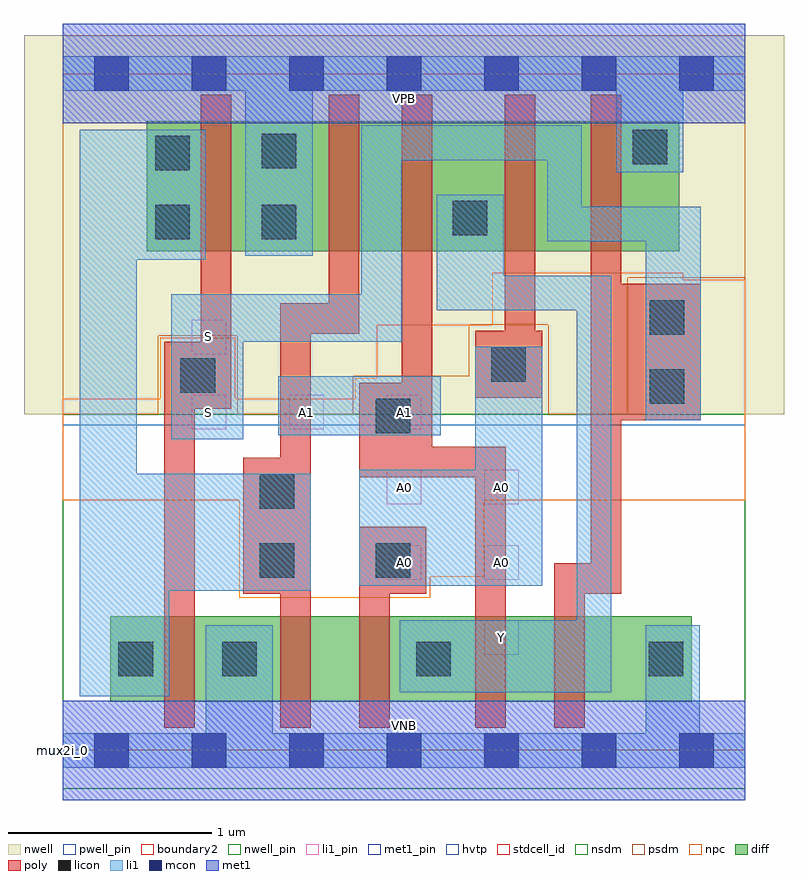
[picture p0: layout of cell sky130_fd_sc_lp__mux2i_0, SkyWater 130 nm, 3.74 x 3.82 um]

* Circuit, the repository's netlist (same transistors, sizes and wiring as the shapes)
* Copyright 2020 The SkyWater PDK Authors
*
* Licensed under the Apache License, Version 2.0 (the "License");
* you may not use this file except in compliance with the License.
* You may obtain a copy of the License at
*
*     https://www.apache.org/licenses/LICENSE-2.0
*
* Unless required by applicable law or agreed to in writing, software
* distributed under the License is distributed on an "AS IS" BASIS,
* WITHOUT WARRANTIES OR CONDITIONS OF ANY KIND, either express or implied.
* See the License for the specific language governing permissions and
* limitations under the License.
*
* SPDX-License-Identifier: Apache-2.0

.SUBCKT sky130_fd_sc_lp__mux2i_0 A0 A1 S VGND VNB VPB VPWR Y
*.PININFO A0:I A1:I S:I VGND:I VNB:I VPB:I VPWR:I Y:O
MMNA00 Y A0 smdNA0 VNB sky130_fd_pr__nfet_01v8 m=1 w=0.42U l=0.15U mult=1 sa=0.265
+ sb=0.265 sd=0.28 area=0.063 perim=1.14
MMNA01 smdNA0 Sb VGND VNB sky130_fd_pr__nfet_01v8 m=1 w=0.42U l=0.15U mult=1 sa=0.265
+ sb=0.265 sd=0.28 area=0.063 perim=1.14
MMNA10 Y A1 sndNA1 VNB sky130_fd_pr__nfet_01v8 m=1 w=0.42U l=0.15U mult=1 sa=0.265
+ sb=0.265 sd=0.28 area=0.063 perim=1.14
MMNA11 sndNA1 S VGND VNB sky130_fd_pr__nfet_01v8 m=1 w=0.42U l=0.15U mult=1 sa=0.265
+ sb=0.265 sd=0.28 area=0.063 perim=1.14
MMIN1 Sb S VGND VNB sky130_fd_pr__nfet_01v8 m=1 w=0.42U l=0.15U mult=1 sa=0.265
+ sb=0.265 sd=0.28 area=0.063 perim=1.14
MMPA00 VPWR S sndPS VPB sky130_fd_pr__pfet_01v8_hvt m=1 w=0.64U l=0.15U mult=1
+ sa=0.265 sb=0.265 sd=0.28 area=0.063 perim=1.14
MMPA01 sndPS A0 Y VPB sky130_fd_pr__pfet_01v8_hvt m=1 w=0.64U l=0.15U mult=1 sa=0.265
+ sb=0.265 sd=0.28 area=0.063 perim=1.14
MMPA10 VPWR Sb sndPSb VPB sky130_fd_pr__pfet_01v8_hvt m=1 w=0.64U l=0.15U mult=1
+ sa=0.265 sb=0.265 sd=0.28 area=0.063 perim=1.14
MMPA11 sndPSb A1 Y VPB sky130_fd_pr__pfet_01v8_hvt m=1 w=0.64U l=0.15U mult=1 sa=0.265
+ sb=0.265 sd=0.28 area=0.063 perim=1.14
MMIP1 Sb S VPWR VPB sky130_fd_pr__pfet_01v8_hvt m=1 w=0.64U l=0.15U mult=1 sa=0.265
+ sb=0.265 sd=0.28 area=0.063 perim=1.14
.ENDS sky130_fd_sc_lp__mux2i_0

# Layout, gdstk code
import gdstk
lib = gdstk.Library(unit=1e-6, precision=1e-09)
def R(c, l, rs):  # rectangles x0, y0, x1, y1
    for r in rs: c.add(gdstk.rectangle(r[:2], r[2:], *l))
def A(c, l, x, y, w, h, nx, ny, dx, dy):  # array of equal rectangles
    R(c, l, [(x+i*dx, y+j*dy, x+i*dx+w, y+j*dy+h) for i in range(nx) for j in range(ny)])
def P(c, l, *ps):  # polygons
    for p in ps: c.add(gdstk.Polygon(p, *l))
nwell_pin = (64, 16)
nwell = (64, 20)
diff = (65, 20)
poly = (66, 20)
licon = (66, 44)
li1_pin = (67, 16)
li1 = (67, 20)
mcon = (67, 44)
met1_pin = (68, 16)
met1 = (68, 20)
hvtp = (78, 44)
stdcell_id = (81, 4)
nsdm = (93, 44)
psdm = (94, 20)
npc = (95, 20)
pwell_pin = (122, 16)
boundary2 = (236, 0)

sky130_fd_sc_lp__mux2i_0 = lib.new_cell('sky130_fd_sc_lp__mux2i_0')
R(sky130_fd_sc_lp__mux2i_0, nwell_pin, [(0,3.085,3.36,3.33)])
R(sky130_fd_sc_lp__mux2i_0, nwell, [(-0.19,1.655,3.55,3.52)])
R(sky130_fd_sc_lp__mux2i_0, diff, [(0.235,0.24,3.095,0.66), (0.415,2.455,3.035,3.095)])
P(sky130_fd_sc_lp__mux2i_0, poly, [(0.83,3.225),(0.68,3.225),(0.68,2.01),(0.5,2.01),(0.5,0.11),(0.65,0.11),(0.65,1.68),(0.83,1.68)],
  [(1.46,3.225),(1.31,3.225),(1.31,2.2),(1.07,2.2),(1.07,1.44),(0.89,1.44),(0.89,0.77),(1.07,0.77),(1.07,0.11),(1.22,0.11),(1.22,2.05),(1.46,2.05)],
  [(1.79,1.1),(1.46,1.1),(1.46,0.11),(1.61,0.11),(1.61,0.77),(1.79,0.77)],
  [(2.18,1.495),(1.82,1.495),(1.82,3.225),(1.67,3.225),(1.67,1.81),(1.46,1.81),(1.46,1.345),(2.03,1.345),(2.03,0.11),(2.18,0.11)],
  [(2.36,2.065),(2.325,2.065),(2.325,3.225),(2.175,3.225),(2.175,2.065),(2.03,2.065),(2.03,1.735),(2.36,1.735)],
  [(3.14,2.295),(2.75,2.295),(2.75,3.225),(2.6,3.225),(2.6,0.92),(2.42,0.92),(2.42,0.11),(2.57,0.11),(2.57,0.77),(2.75,0.77),(2.75,1.625),(3.14,1.625)])
R(sky130_fd_sc_lp__mux2i_0, licon, [(0.275,0.365,0.445,0.535), (0.785,0.365,0.955,0.535), (1.74,0.365,1.91,0.535), (2.885,0.365,3.055,0.535), (0.97,0.85,1.14,1.02), (1.54,0.85,1.71,1.02), (0.97,1.19,1.14,1.36), (1.54,1.56,1.71,1.73), (2.89,1.705,3.06,1.875), (0.58,1.76,0.75,1.93), (2.11,1.815,2.28,1.985), (2.89,2.045,3.06,2.215), (0.455,2.515,0.625,2.685), (0.98,2.515,1.15,2.685), (1.92,2.535,2.09,2.705), (0.455,2.855,0.625,3.025), (0.98,2.865,1.15,3.035), (2.805,2.885,2.975,3.055)])
A(sky130_fd_sc_lp__mux2i_0, li1_pin, 2.075, 0.47, 0.17, 0.17, 1, 3, 0, 0.37)
A(sky130_fd_sc_lp__mux2i_0, li1_pin, 0.635, 1.58, 0.17, 0.17, 3, 1, 0.48, 0)
R(sky130_fd_sc_lp__mux2i_0, li1_pin, [(1.595,0.84,1.765,1.01), (1.595,1.21,1.765,1.38), (0.635,1.95,0.805,2.12)])
R(sky130_fd_sc_lp__mux2i_0, li1, [(1.06,1.55,1.86,1.84)])
P(sky130_fd_sc_lp__mux2i_0, li1, [(2.725,2.845),(2.725,3.245),(1.23,3.245),(1.23,2.435),(0.9,2.435),(0.9,3.245),(0,3.245),(0,3.415),(3.36,3.415),(3.36,3.245),(3.055,3.245),(3.055,2.845)],
  [(2.87,0.085),(2.87,0.615),(3.135,0.615),(3.135,0.085),(3.36,0.085),(3.36,-0.085),(0,-0.085),(0,0.085),(0.705,0.085),(0.705,0.615),(1.035,0.615),(1.035,0.085)],
  [(1.67,2.01),(0.89,2.01),(0.89,1.53),(0.535,1.53),(0.535,2.245),(1.47,2.245),(1.47,3.075),(2.555,3.075),(2.555,2.675),(3.14,2.675),(3.14,1.625),(2.87,1.625),(2.87,2.505),(2.385,2.505),(2.385,2.905),(1.67,2.905)],
  [(2.53,0.64),(2.53,2.165),(1.84,2.165),(1.84,2.735),(2.17,2.735),(2.17,2.335),(2.7,2.335),(2.7,0.285),(1.66,0.285),(1.66,0.64)],
  [(1.46,0.81),(1.46,1.38),(2.03,1.38),(2.03,1.985),(2.36,1.985),(2.36,0.81)],
  [(0.365,2.415),(0.365,1.36),(1.22,1.36),(1.22,0.785),(0.525,0.785),(0.525,0.265),(0.085,0.265),(0.085,3.055),(0.705,3.055),(0.705,2.415)])
A(sky130_fd_sc_lp__mux2i_0, mcon, 0.155, -0.085, 0.17, 0.17, 7, 2, 0.48, 3.33)
R(sky130_fd_sc_lp__mux2i_0, met1_pin, [(0,0,3.36,0.245), (0,3.085,3.36,3.33)])
R(sky130_fd_sc_lp__mux2i_0, met1, [(0,-0.245,3.36,0.245), (0,3.085,3.36,3.575)])
R(sky130_fd_sc_lp__mux2i_0, hvtp, [(0,1.6,3.36,3.33)])
R(sky130_fd_sc_lp__mux2i_0, stdcell_id, [(0,0,3.36,3.33)])
R(sky130_fd_sc_lp__mux2i_0, nsdm, [(0,-0.19,3.36,1.655)])
P(sky130_fd_sc_lp__mux2i_0, psdm, [(3.36,3.52),(0,3.52),(0,1.655),(0.47,1.655),(0.47,2.04),(0.86,2.04),(0.86,1.655),(1.43,1.655),(1.43,1.84),(2,1.84),(2,2.095),(2.39,2.095),(2.39,1.655),(2.78,1.655),(2.78,2.325),(3.36,2.325)])
P(sky130_fd_sc_lp__mux2i_0, npc, [(3.36,2.315),(3.055,2.315),(3.055,2.35),(2.115,2.35),(2.115,2.095),(1.545,2.095),(1.545,1.83),(1.44,1.83),(1.44,1.73),(0.85,1.73),(0.85,2.03),(0.48,2.03),(0.48,1.73),(0,1.73),(0,1.23),(0.87,1.23),(0.87,0.75),(1.81,0.75),(1.81,0.855),(2.075,0.855),(2.075,1.23),(3.36,1.23)])
R(sky130_fd_sc_lp__mux2i_0, pwell_pin, [(0,0,3.36,0.245)])
R(sky130_fd_sc_lp__mux2i_0, boundary2, [(0,0,3.36,3.33)])
sky130_fd_sc_lp__mux2i_0.add(gdstk.Label('VNB', (1.68,0.123), layer=64, texttype=59))
sky130_fd_sc_lp__mux2i_0.add(gdstk.Label('VPB', (1.68,3.208), layer=64, texttype=5))
sky130_fd_sc_lp__mux2i_0.add(gdstk.Label('mux2i_0', (0,0), layer=83, texttype=44))
sky130_fd_sc_lp__mux2i_0.add(gdstk.Label('VPWR', (1.68,3.208), layer=68, texttype=5))
sky130_fd_sc_lp__mux2i_0.add(gdstk.Label('VGND', (1.68,0.123), layer=68, texttype=5))
sky130_fd_sc_lp__mux2i_0.add(gdstk.Label('Y', (2.16,0.555), layer=67, texttype=5))
sky130_fd_sc_lp__mux2i_0.add(gdstk.Label('A0', (1.68,0.925), layer=67, texttype=5))
sky130_fd_sc_lp__mux2i_0.add(gdstk.Label('A0', (1.68,1.295), layer=67, texttype=5))
sky130_fd_sc_lp__mux2i_0.add(gdstk.Label('A0', (2.16,0.925), layer=67, texttype=5))
sky130_fd_sc_lp__mux2i_0.add(gdstk.Label('A0', (2.16,1.295), layer=67, texttype=5))
sky130_fd_sc_lp__mux2i_0.add(gdstk.Label('A1', (1.2,1.665), layer=67, texttype=5))
sky130_fd_sc_lp__mux2i_0.add(gdstk.Label('A1', (1.68,1.665), layer=67, texttype=5))
sky130_fd_sc_lp__mux2i_0.add(gdstk.Label('S', (0.72,1.665), layer=67, texttype=5))
sky130_fd_sc_lp__mux2i_0.add(gdstk.Label('S', (0.72,2.035), layer=67, texttype=5))

lib.write_gds('sky130_fd_sc_lp__mux2i_0.gds')
